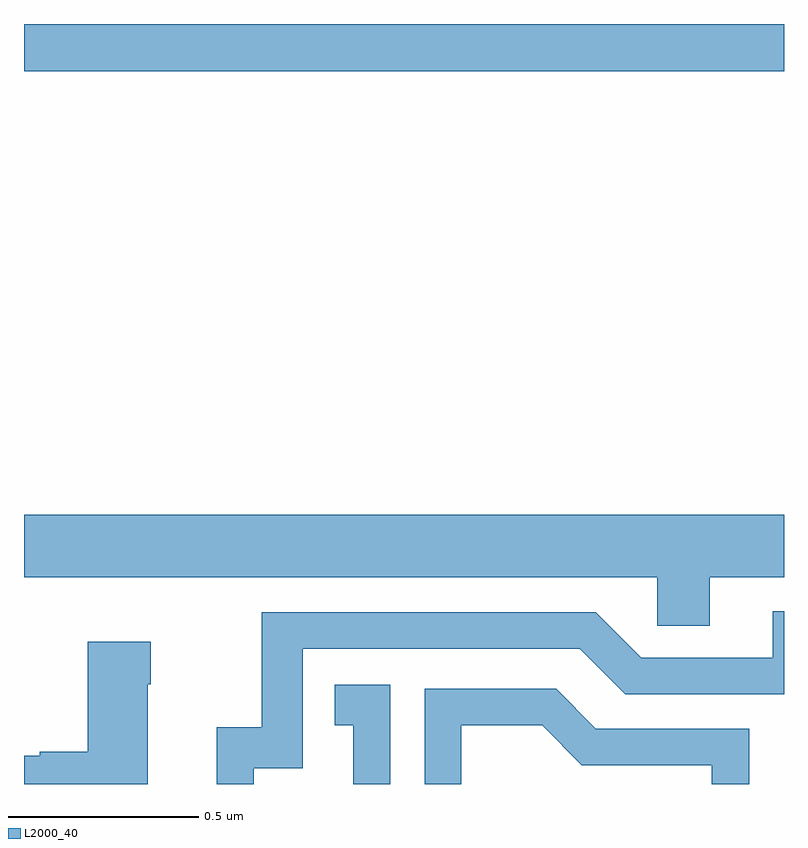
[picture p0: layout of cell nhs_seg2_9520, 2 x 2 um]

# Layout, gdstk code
import gdstk
lib = gdstk.Library(unit=1e-6, precision=1e-09)
def R(c, l, rs):  # rectangles x0, y0, x1, y1
    for r in rs: c.add(gdstk.rectangle(r[:2], r[2:], *l))
def P(c, l, *ps):  # polygons
    for p in ps: c.add(gdstk.Polygon(p, *l))
L2000_40 = (2000, 40)

nhs_seg2_9520 = lib.new_cell('nhs_seg2_9520')
R(nhs_seg2_9520, L2000_40, [(230,607.676,232,607.8)])
P(nhs_seg2_9520, L2000_40, [(231.805,606.344),(232,606.344),(232,606.508),(230,606.508),(230,606.344),(231.666,606.344),(231.666,606.217),(231.805,606.217)],
  [(230.604,605.841),(230.733,605.841),(230.733,606.156),(231.462,606.156),(231.582,606.036),(232,606.036),(232,606.255),(231.971,606.255),(231.971,606.132),(231.624,606.132),(231.504,606.252),(230.625,606.252),(230.625,605.95),(230.507,605.95),(230.507,605.8),(230.604,605.8)],
  [(230.326,606.062),(230.334,606.062),(230.334,606.175),(230.168,606.175),(230.168,605.885),(230.042,605.885),(230.042,605.875),(230,605.875),(230,605.8),(230.326,605.8)],
  [(230.964,606.061),(230.818,606.061),(230.818,605.955),(230.867,605.955),(230.867,605.8),(230.964,605.8)],
  [(231.15,605.954),(231.364,605.954),(231.468,605.85),(231.81,605.85),(231.81,605.8),(231.909,605.8),(231.909,605.946),(231.505,605.946),(231.4,606.051),(231.054,606.051),(231.054,605.8),(231.15,605.8)])

lib.write_gds('nhs_seg2_9520.gds')
